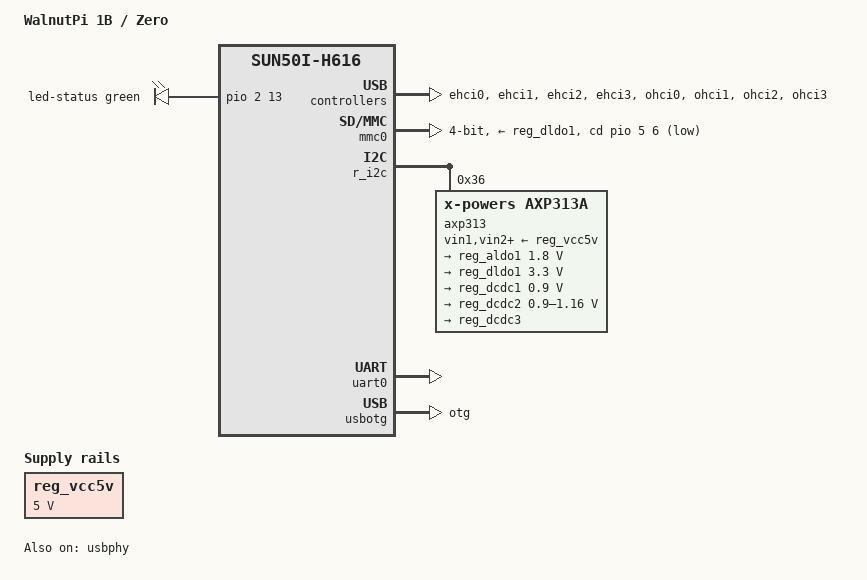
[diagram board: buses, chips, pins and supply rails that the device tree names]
// SPDX-License-Identifier: (GPL-2.0+ OR MIT)
/*
 * U-Boot DT for WalnutPi 1B / ZeroW（与内核同一套板级走线）。
 *
 * SPL 只写 AXP DCDC3=1.1 V（LPDDR4），不写 DCDC2。内核管 CPU OPP。
 */

/dts-v1/;

#include "sun50i-h616.dtsi"

#include <dt-bindings/gpio/gpio.h>
#include <dt-bindings/leds/common.h>

/ {
	model = "WalnutPi 1B / Zero";
	compatible = "walnutpi,1b", "walnutpi,zero", "walnutpi,zerow",
		     "allwinner,sun50i-h618", "allwinner,sun50i-h616";

	aliases {
		serial0 = &uart0;
		mmc0 = &mmc0;
	};

	chosen {
		stdout-path = "serial0:115200n8";
	};

	leds {
		compatible = "gpio-leds";

		led-status {
			function = LED_FUNCTION_STATUS;
			color = <LED_COLOR_ID_GREEN>;
			gpios = <&pio 2 13 GPIO_ACTIVE_HIGH>; /* PC13 */
			default-state = "on";
		};
	};

	reg_vcc5v: vcc5v {
		compatible = "regulator-fixed";
		regulator-name = "vcc-5v";
		regulator-min-microvolt = <5000000>;
		regulator-max-microvolt = <5000000>;
		regulator-always-on;
	};
};

&cpu0 {
	cpu-supply = <&reg_dcdc2>;
};

&ehci0 {
	status = "okay";
};

&ehci1 {
	status = "okay";
};

&ehci2 {
	status = "okay";
};

&ehci3 {
	status = "okay";
};

&ohci0 {
	status = "okay";
};

&ohci1 {
	status = "okay";
};

&ohci2 {
	status = "okay";
};

&ohci3 {
	status = "okay";
};

&mmc0 {
	vmmc-supply = <&reg_dldo1>;
	cd-gpios = <&pio 5 6 GPIO_ACTIVE_LOW>; /* PF6 / SDC0-DET */
	bus-width = <4>;
	status = "okay";
};

&r_i2c {
	status = "okay";

	axp313: pmic@36 {
		compatible = "x-powers,axp313a";
		reg = <0x36>;

		vin1-supply = <&reg_vcc5v>;
		vin2-supply = <&reg_vcc5v>;
		vin3-supply = <&reg_vcc5v>;

		regulators {
			reg_aldo1: aldo1 {
				regulator-always-on;
				regulator-min-microvolt = <1800000>;
				regulator-max-microvolt = <1800000>;
				regulator-name = "vcc1v8";
			};

			reg_dldo1: dldo1 {
				regulator-always-on;
				regulator-min-microvolt = <3300000>;
				regulator-max-microvolt = <3300000>;
				regulator-name = "vcc3v3";
			};

			reg_dcdc1: dcdc1 {
				regulator-always-on;
				regulator-min-microvolt = <900000>;
				regulator-max-microvolt = <900000>;
				regulator-name = "vdd-gpu-sys";
			};

			reg_dcdc2: dcdc2 {
				regulator-always-on;
				regulator-min-microvolt = <900000>;
				regulator-max-microvolt = <1160000>;
				regulator-name = "vdd-cpu";
			};

			/* 1B 原理图 1.3 V / ZeroW 1.1 V，不改写 OTP */
			reg_dcdc3: dcdc3 {
				regulator-always-on;
				regulator-name = "vcc-dram";
			};
		};
	};
};

&uart0 {
	pinctrl-names = "default";
	pinctrl-0 = <&uart0_ph_pins>;
	status = "okay";
};

&usbotg {
	dr_mode = "otg";
	status = "okay";
};

&usbphy {
	usb1_vbus-supply = <&reg_vcc5v>;
	status = "okay";
};
